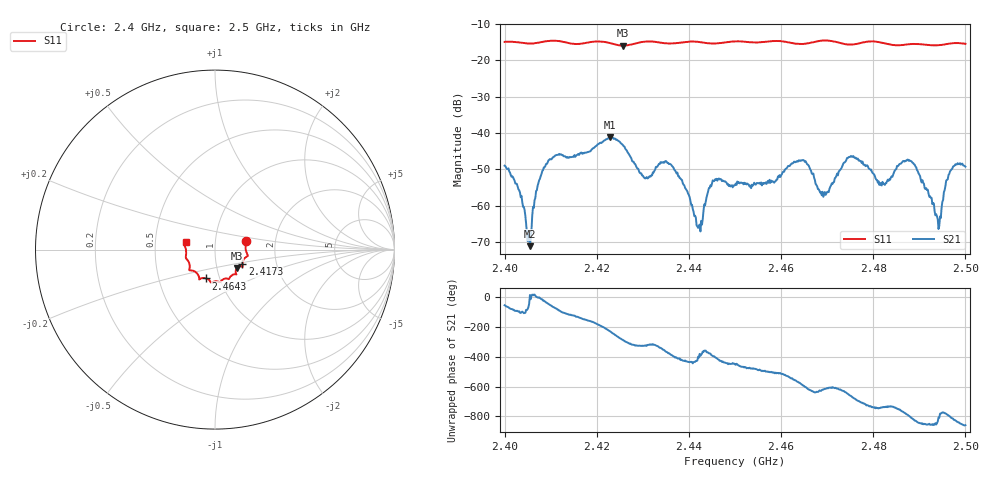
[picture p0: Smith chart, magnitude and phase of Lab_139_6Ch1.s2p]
# Hz S RI R 50
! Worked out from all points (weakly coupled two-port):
!   601 points, 2.4 GHz to 2.5 GHz, reference 50 ohm
!   highest |S21| = -41.14 dB at 2.4228 GHz (marker M1); lowest = -71.2 dB at 2.4055 GHz (marker M2)
!   lowest |S11| = -15.9 dB at 2.4257 GHz (marker M3), VSWR 1.38, Z = 62.5 - j13.1 ohm
!   |S11| at or under -10 dB: start of sweep to end of sweep
!   S12 and S22 are empty: the file has one direction only
!   S11 on the Smith chart (normalised r, x): 2.4 GHz: 1.41, +0.14; 2.4173 GHz: 1.34, -0.23; 2.4643 GHz: 0.86, -0.28; 2.5 GHz: 0.72, +0.06
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2.4e9  0.1732 0.0494  0.00193 -0.00297  0 0  0 0
2.4055e9  0.1705 0.00765  0.00027 5.57e-05  0 0  0 0
2.409e9  0.1816 -0.0282  0.00293 -0.00232  0 0  0 0
2.416667e9  0.1529 -0.0746  -0.0044 -0.0031  0 0  0 0
2.417333e9  0.1522 -0.0821  -0.00469 -0.0026  0 0  0 0
2.422833e9  0.1466 -0.0934  -0.00566 0.00669  0 0  0 0
2.425667e9  0.1231 -0.102  0.00217 0.00647  0 0  0 0
2.4305e9  0.1186 -0.1377  0.00197 0.0013  0 0  0 0
2.433333e9  0.1128 -0.1371  0.0032 0.00167  0 0  0 0
2.438e9  0.0829 -0.1543  0.00144 -0.0019  0 0  0 0
2.442167e9  0.0738 -0.1636  0.000358 -0.000382  0 0  0 0
2.4455e9  0.0518 -0.1629  0.0017 -0.00135  0 0  0 0
2.45e9  0.0294 -0.1808  -5.81e-05 -0.00191  0 0  0 0
2.464333e9  -0.0499 -0.1606  -0.00308 0.00285  0 0  0 0
2.466667e9  -0.0758 -0.1596  2.91e-05 0.00276  0 0  0 0
2.469333e9  -0.0877 -0.1665  -0.000325 0.00139  0 0  0 0
2.475167e9  -0.1078 -0.1253  0.00263 0.00404  0 0  0 0
2.483333e9  -0.1408 -0.09  0.00212 -0.000563  0 0  0 0
2.488333e9  -0.1609 -0.0489  -7.83e-05 -0.00405  0 0  0 0
2.494167e9  -0.1621 0.000196  2.11e-05 -0.000473  0 0  0 0
2.496833e9  -0.1695 0.0251  0.000202 -0.00306  0 0  0 0
2.5e9  -0.164 0.0423  -0.00256 -0.00229  0 0  0 0
